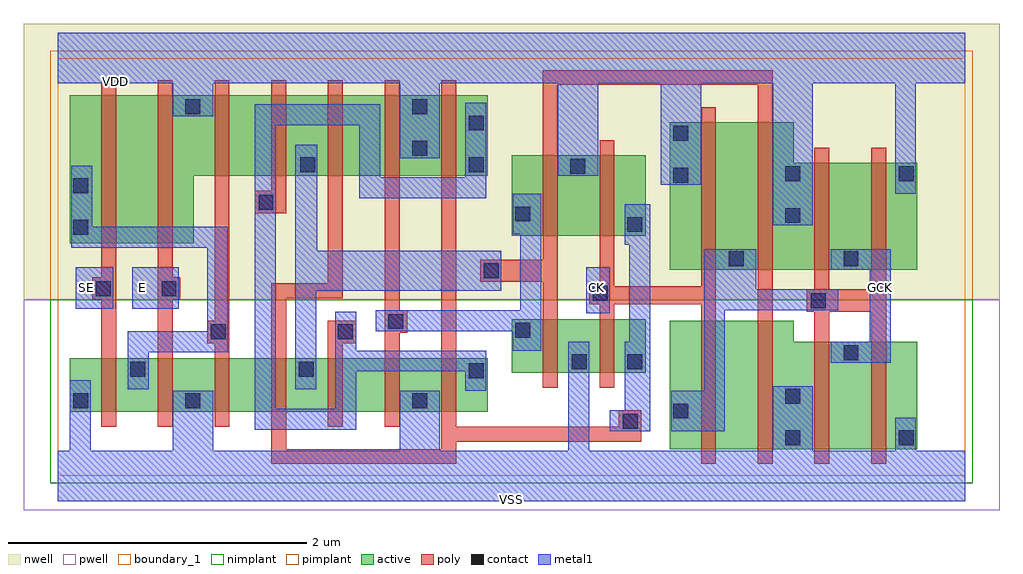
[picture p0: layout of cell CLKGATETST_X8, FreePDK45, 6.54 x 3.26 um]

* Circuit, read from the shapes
.subckt CLKGATETST_X8 CK E GCK SE VDD VSS
M1 n1 SE VSS VSUBS nfet w=0.36u l=0.1u
M2 VSS E n1 VSUBS nfet w=0.36u l=0.1u
M3 n2 n1 VSS VSUBS nfet w=0.36u l=0.1u
M4 n3 n4 n2 VSUBS nfet w=0.36u l=0.1u
M5 n5 n6 n3 VSUBS nfet w=0.36u l=0.1u
M6 VSS n7 n5 VSUBS nfet w=0.36u l=0.1u
M7 n6 n4 VSS VSUBS nfet w=0.36u l=0.1u
M8 VSS n3 n7 VSUBS nfet w=0.36u l=0.1u
M9 n4 CK VSS VSUBS nfet w=0.36u l=0.1u
M10 n8 CK n9 VSUBS nfet w=0.86u l=0.1u
M11 VSS n3 n8 VSUBS nfet w=0.86u l=0.1u
M12 GCK n9 VSS VSUBS nfet w=0.72u l=0.1u m=2
M13 n10 SE n1 n11 pfet w=0.99u l=0.1u
M14 VDD E n10 n11 pfet w=0.99u l=0.1u
M15 n12 n1 VDD n11 pfet w=0.54u l=0.1u
M16 n3 n6 n12 n11 pfet w=0.54u l=0.1u
M17 n13 n4 n3 n11 pfet w=0.54u l=0.1u
M18 VDD n7 n13 n11 pfet w=0.54u l=0.1u
M19 n6 n4 VDD n11 pfet w=0.54u l=0.1u
M20 VDD n3 n7 n11 pfet w=0.54u l=0.1u
M21 n4 CK VDD n11 pfet w=0.54u l=0.1u
M22 n9 CK VDD n11 pfet w=0.99u l=0.1u
M23 VDD n3 n9 n11 pfet w=0.99u l=0.1u
M24 GCK n9 VDD n11 pfet w=0.72u l=0.1u m=2
.ends

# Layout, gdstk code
import gdstk
lib = gdstk.Library(unit=1e-6, precision=1e-09)
def R(c, l, rs):  # rectangles x0, y0, x1, y1
    for r in rs: c.add(gdstk.rectangle(r[:2], r[2:], *l))
def P(c, l, *ps):  # polygons
    for p in ps: c.add(gdstk.Polygon(p, *l))
active = (1, 0)
pwell = (2, 0)
nwell = (3, 0)
nimplant = (4, 0)
pimplant = (5, 0)
poly = (9, 0)
contact = (10, 0)
metal1 = (11, 0)
boundary_1 = (235, 1)

clkgatetst_x8 = lib.new_cell('CLKGATETST_X8')
R(clkgatetst_x8, active, [(0.08,0.43,2.88,0.79), (3.04,0.69,3.94,1.05), (3.04,1.61,3.94,2.15)])
P(clkgatetst_x8, active, [(4.1,1.38),(5.76,1.38),(5.76,2.1),(4.93,2.1),(4.93,2.37),(4.1,2.37)],
  [(4.1,0.18),(5.76,0.18),(5.76,0.9),(4.93,0.9),(4.93,1.04),(4.1,1.04)],
  [(0.08,1.56),(0.91,1.56),(0.91,2.01),(2.88,2.01),(2.88,2.55),(0.08,2.55)])
R(clkgatetst_x8, pwell, [(-0.23,-0.23,6.31,1.18)])
R(clkgatetst_x8, nwell, [(-0.23,1.18,6.31,3.03)])
R(clkgatetst_x8, nimplant, [(-0.05,-0.05,6.13,1.18)])
R(clkgatetst_x8, pimplant, [(-0.05,1.18,6.13,2.85)])
P(clkgatetst_x8, poly, [(5.02,1.1),(5.07,1.1),(5.07,0.08),(5.17,0.08),(5.17,1.1),(5.45,1.1),(5.45,0.08),(5.55,0.08),(5.55,2.2),(5.45,2.2),(5.45,1.25),(5.17,1.25),(5.17,2.2),(5.07,2.2),(5.07,1.25),(5.02,1.25)],
  [(2.83,1.3),(3.25,1.3),(3.25,0.59),(3.35,0.59),(3.35,2.62),(4.69,2.62),(4.69,0.08),(4.79,0.08),(4.79,2.72),(3.25,2.72),(3.25,1.45),(2.83,1.45)],
  [(3.56,1.15),(3.63,1.15),(3.63,0.59),(3.73,0.59),(3.73,1.15),(4.31,1.15),(4.31,0.08),(4.41,0.08),(4.41,2.47),(4.31,2.47),(4.31,1.27),(3.73,1.27),(3.73,2.25),(3.63,2.25),(3.63,1.3),(3.56,1.3)],
  [(1.43,0.08),(2.67,0.08),(2.67,0.23),(3.91,0.23),(3.91,0.44),(3.76,0.44),(3.76,0.33),(2.67,0.33),(2.67,2.65),(2.57,2.65),(2.57,0.18),(1.53,0.18),(1.53,1.19),(1.91,1.19),(1.91,2.65),(1.81,2.65),(1.81,1.29),(1.43,1.29)],
  [(2.19,0.33),(2.29,0.33),(2.29,0.96),(2.34,0.96),(2.34,1.11),(2.29,1.11),(2.29,2.65),(2.19,2.65)],
  [(1.81,0.33),(1.91,0.33),(1.91,0.89),(2,0.89),(2,1.04),(1.81,1.04)],
  [(1.32,1.76),(1.53,1.76),(1.53,2.65),(1.43,2.65),(1.43,1.91),(1.32,1.91)],
  [(1,0.89),(1.05,0.89),(1.05,0.33),(1.15,0.33),(1.15,2.65),(1.05,2.65),(1.05,1.04),(1,1.04)],
  [(0.67,0.33),(0.77,0.33),(0.77,1.18),(0.82,1.18),(0.82,1.33),(0.77,1.33),(0.77,2.65),(0.67,2.65)],
  [(0.23,1.18),(0.29,1.18),(0.29,0.33),(0.39,0.33),(0.39,2.65),(0.29,2.65),(0.29,1.33),(0.23,1.33)])
R(clkgatetst_x8, contact, [(4.875,0.205,4.975,0.305), (5.635,0.205,5.735,0.305), (3.785,0.315,3.885,0.415), (4.125,0.385,4.225,0.485), (0.105,0.455,0.205,0.555), (0.855,0.455,0.955,0.555), (2.375,0.455,2.475,0.555), (4.875,0.485,4.975,0.585), (2.755,0.655,2.855,0.755), (0.485,0.665,0.585,0.765), (1.615,0.665,1.715,0.765), (3.445,0.715,3.545,0.815), (3.815,0.715,3.915,0.815), (5.265,0.775,5.365,0.875), (1.025,0.915,1.125,1.015), (1.875,0.915,1.975,1.015), (3.065,0.925,3.165,1.025), (2.215,0.985,2.315,1.085), (5.045,1.125,5.145,1.225), (3.585,1.175,3.685,1.275), (0.255,1.205,0.355,1.305), (0.695,1.205,0.795,1.305), (2.855,1.325,2.955,1.425), (4.495,1.405,4.595,1.505), (5.265,1.405,5.365,1.505), (0.105,1.615,0.205,1.715), (3.815,1.635,3.915,1.735), (4.875,1.695,4.975,1.795), (3.065,1.705,3.165,1.805), (1.345,1.785,1.445,1.885), (0.105,1.895,0.205,1.995), (4.125,1.965,4.225,2.065), (4.875,1.975,4.975,2.075), (5.635,1.975,5.735,2.075), (3.435,2.025,3.535,2.125), (1.625,2.035,1.725,2.135), (2.755,2.035,2.855,2.135), (2.375,2.145,2.475,2.245), (4.125,2.245,4.225,2.345), (2.755,2.315,2.855,2.415), (0.855,2.425,0.955,2.525), (2.375,2.425,2.475,2.525)])
R(clkgatetst_x8, metal1, [(3.54,1.09,3.7,1.4), (3.54,1.09,3.7,1.4), (0.12,1.12,0.37,1.4), (0.12,1.12,0.37,1.4), (0.5,1.12,0.81,1.4), (0.5,1.12,0.81,1.4)])
P(clkgatetst_x8, metal1, [(5.18,1.38),(5.44,1.38),(5.44,0.9),(5.18,0.9),(5.18,0.76),(5.58,0.76),(5.58,1.52),(5.18,1.52)],
  [(0,-0.17),(6.08,-0.17),(6.08,0.17),(5.75,0.17),(5.75,0.39),(5.61,0.39),(5.61,0.17),(5.06,0.17),(5.06,0.6),(4.79,0.6),(4.79,0.17),(3.56,0.17),(3.56,0.9),(3.42,0.9),(3.42,0.17),(2.56,0.17),(2.56,0.57),(2.29,0.57),(2.29,0.17),(1.04,0.17),(1.04,0.57),(0.77,0.57),(0.77,0.17),(0.22,0.17),(0.22,0.64),(0.08,0.64),(0.08,0.17),(0,0.17)],
  [(0,2.63),(0.77,2.63),(0.77,2.41),(1.04,2.41),(1.04,2.63),(2.29,2.63),(2.29,2.13),(2.56,2.13),(2.56,2.63),(3.35,2.63),(3.35,2.01),(3.62,2.01),(3.62,2.63),(4.04,2.63),(4.04,1.95),(4.31,1.95),(4.31,2.63),(4.79,2.63),(4.79,1.68),(5.06,1.68),(5.06,2.63),(5.61,2.63),(5.61,1.89),(5.75,1.89),(5.75,2.63),(6.08,2.63),(6.08,2.97),(0,2.97)],
  [(0,2.63),(0.77,2.63),(0.77,2.41),(1.04,2.41),(1.04,2.63),(2.29,2.63),(2.29,2.13),(2.56,2.13),(2.56,2.63),(3.35,2.63),(3.35,2.01),(3.62,2.01),(3.62,2.63),(4.04,2.63),(4.04,1.95),(4.31,1.95),(4.31,2.63),(4.79,2.63),(4.79,1.68),(5.06,1.68),(5.06,2.63),(5.61,2.63),(5.61,1.89),(5.75,1.89),(5.75,2.63),(6.08,2.63),(6.08,2.97),(0,2.97)],
  [(0,-0.17),(6.08,-0.17),(6.08,0.17),(5.75,0.17),(5.75,0.39),(5.61,0.39),(5.61,0.17),(5.06,0.17),(5.06,0.6),(4.79,0.6),(4.79,0.17),(3.56,0.17),(3.56,0.9),(3.42,0.9),(3.42,0.17),(2.56,0.17),(2.56,0.57),(2.29,0.57),(2.29,0.17),(1.04,0.17),(1.04,0.57),(0.77,0.57),(0.77,0.17),(0.22,0.17),(0.22,0.64),(0.08,0.64),(0.08,0.17),(0,0.17)],
  [(5.18,1.38),(5.44,1.38),(5.44,0.9),(5.18,0.9),(5.18,0.76),(5.58,0.76),(5.58,1.52),(5.18,1.52)],
  [(4.11,0.3),(4.47,0.3),(4.47,1.11),(5.23,1.11),(5.23,1.25),(4.68,1.25),(4.68,1.52),(4.33,1.52),(4.33,0.57),(4.11,0.57)],
  [(3.8,1.55),(3.83,1.55),(3.83,0.9),(3.8,0.9),(3.8,0.44),(3.7,0.44),(3.7,0.3),(3.97,0.3),(3.97,1.82),(3.8,1.82)],
  [(3.05,1.62),(3.1,1.62),(3.1,1.11),(2.13,1.11),(2.13,0.97),(3.05,0.97),(3.05,0.84),(3.24,0.84),(3.24,1.89),(3.05,1.89)],
  [(1.59,0.58),(1.73,0.58),(1.73,1.24),(2.97,1.24),(2.97,1.51),(1.74,1.51),(1.74,2.22),(1.59,2.22)],
  [(1.46,2.35),(2.02,2.35),(2.02,1.86),(2.87,1.86),(2.87,2.5),(2.73,2.5),(2.73,2),(2.16,2),(2.16,2.49),(1.32,2.49),(1.32,0.31),(2,0.31),(2,0.7),(2.73,0.7),(2.73,0.57),(2.87,0.57),(2.87,0.84),(2,0.84),(2,1.1),(1.86,1.1),(1.86,0.45),(1.46,0.45)],
  [(0.09,1.53),(1,1.53),(1,0.97),(0.47,0.97),(0.47,0.58),(0.61,0.58),(0.61,0.83),(1.14,0.83),(1.14,1.67),(0.23,1.67),(0.23,2.08),(0.09,2.08)])
R(clkgatetst_x8, boundary_1, [(0,0,6.08,2.8)])
clkgatetst_x8.add(gdstk.Label('VSS', (3.04,-0.16), layer=11, texttype=0))
clkgatetst_x8.add(gdstk.Label('VDD', (0.385,2.64), layer=11, texttype=0))
clkgatetst_x8.add(gdstk.Label('SE', (0.19,1.26), layer=11, texttype=0))
clkgatetst_x8.add(gdstk.Label('GCK', (5.51,1.26), layer=11, texttype=0))
clkgatetst_x8.add(gdstk.Label('E', (0.57,1.26), layer=11, texttype=0))
clkgatetst_x8.add(gdstk.Label('CK', (3.61,1.26), layer=11, texttype=0))

lib.write_gds('CLKGATETST_X8.gds')
